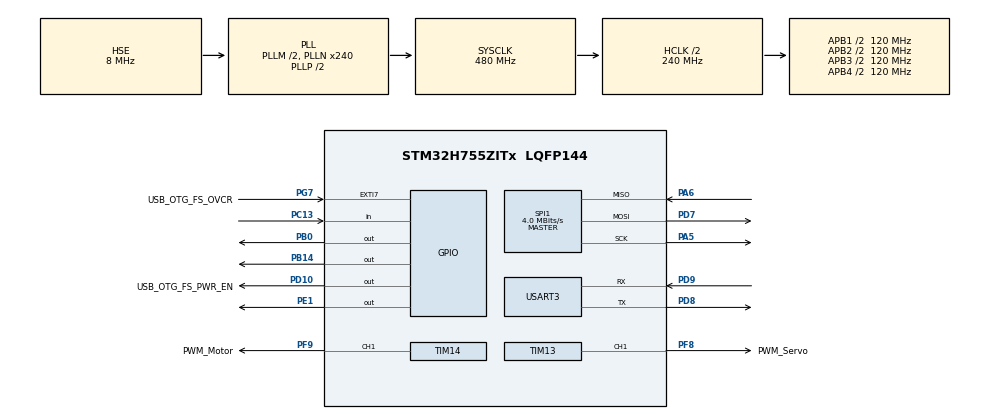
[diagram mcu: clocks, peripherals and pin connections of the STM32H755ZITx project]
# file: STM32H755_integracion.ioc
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CortexM4.IPs=FATFS_M4\:I,FREERTOS_M4\:I,IWDG2\:I,RCC,WWDG2\:I,DMA,BDMA,MDMA,NVIC2\:I,ETH,USART3,DEBUG,PDM2PCM_M4\:I,PWR,RESMGR_UTILITY,SYS_M4\:I,USB_DEVICE_M4\:I,USB_HOST_M4\:I,CORTEX_M4\:I,GPIO,OPENAMP_M4\:I,VREFBUF,NUCLEO-H755ZI-Q
CortexM7.IPs=FATFS_M7\:I,FREERTOS_M7\:I,IWDG1\:I,RCC\:I,WWDG1\:I,DMA\:I,BDMA\:I,MDMA\:I,NVIC1\:I,ETH\:I,USART3\:I,USB_OTG_FS\:I,SYS\:I,CORTEX_M7\:I,DEBUG\:I,PDM2PCM_M7\:I,PWR\:I,RESMGR_UTILITY\:I,USB_DEVICE_M7\:I,USB_HOST_M7\:I,GPIO\:I,OPENAMP_M7\:I,VREFBUF\:I,NUCLEO-H755ZI-Q\:I,TIM13\:I,TIM14\:I,SPI1\:I
Mcu.Family=STM32H7
Mcu.Name=STM32H755ZITx
Mcu.Package=LQFP144
NVIC1.PriorityGroup=NVIC_PRIORITYGROUP_4
NVIC2.PriorityGroup=NVIC_PRIORITYGROUP_4
PA1.PinAttribute=CortexM7
PA1.Signal=ETH_REF_CLK
PA11.PinAttribute=CortexM7
PA11.Signal=USB_OTG_FS_DM
PA12.PinAttribute=CortexM7
PA12.Signal=USB_OTG_FS_DP
PA2.PinAttribute=CortexM7
PA2.Signal=ETH_MDIO
PA5.Mode=Full_Duplex_Master
PA5.PinAttribute=CortexM7
PA5.Signal=SPI1_SCK
PA6.Mode=Full_Duplex_Master
PA6.PinAttribute=CortexM7
PA6.Signal=SPI1_MISO
PA7.PinAttribute=CortexM7
PA7.Signal=ETH_CRS_DV
PA8.PinAttribute=CortexM7
PA8.Signal=USB_OTG_FS_SOF
PA9.PinAttribute=CortexM7
PA9.Signal=USB_OTG_FS_VBUS
PB0.PinAttribute=Free
PB0.Signal=GPIO_Output
PB13.PinAttribute=CortexM7
PB13.Signal=ETH_TXD1
PB14.PinAttribute=Free
PB14.Signal=GPIO_Output
PC1.PinAttribute=CortexM7
PC1.Signal=ETH_MDC
PC13.PinAttribute=Free
PC13.Signal=GPIO_Input
PC14-OSC32_IN\ (OSC32_IN).Mode=LSE-External-Oscillator
PC14-OSC32_IN\ (OSC32_IN).PinAttribute=Free
PC14-OSC32_IN\ (OSC32_IN).Signal=RCC_OSC32_IN
PC15-OSC32_OUT\ (OSC32_OUT).Mode=LSE-External-Oscillator
PC15-OSC32_OUT\ (OSC32_OUT).PinAttribute=Free
PC15-OSC32_OUT\ (OSC32_OUT).Signal=RCC_OSC32_OUT
PC4.PinAttribute=CortexM7
PC4.Signal=ETH_RXD0
PC5.PinAttribute=CortexM7
PC5.Signal=ETH_RXD1
PD10.GPIO_Label=USB_OTG_FS_PWR_EN
PD10.PinAttribute=Free
PD10.Signal=GPIO_Output
PD7.Mode=Full_Duplex_Master
PD7.PinAttribute=CortexM7
PD7.Signal=SPI1_MOSI
PD8.Mode=Asynchronous
PD8.PinAttribute=CortexM7
PD8.Signal=USART3_TX
PD9.Mode=Asynchronous
PD9.PinAttribute=CortexM7
PD9.Signal=USART3_RX
PE1.PinAttribute=Free
PE1.Signal=GPIO_Output
PF8.GPIO_Label=PWM_Servo
PF8.PinAttribute=CortexM7
PF8.Signal=S_TIM13_CH1
PF9.GPIO_Label=PWM_Motor
PF9.PinAttribute=CortexM7
PF9.Signal=S_TIM14_CH1
PG11.PinAttribute=CortexM7
PG11.Signal=ETH_TX_EN
PG13.PinAttribute=CortexM7
PG13.Signal=ETH_TXD0
PG7.GPIO_Label=USB_OTG_FS_OVCR
PG7.PinAttribute=Free
PG7.Signal=GPXTI7
PH0-OSC_IN\ (PH0).Mode=HSE-External-Clock-Source
PH0-OSC_IN\ (PH0).PinAttribute=Free
PH0-OSC_IN\ (PH0).Signal=RCC_OSC_IN
PH1-OSC_OUT\ (PH1).PinAttribute=Free
PH1-OSC_OUT\ (PH1).Signal=RCC_OSC_OUT
ProjectManager.HeapSize=M4-0x200,M7-0x200
ProjectManager.StackSize=M4-0x400,M7-0x400
ProjectManager.TargetToolchain=STM32CubeIDE
RCC.ADCFreq_Value=16125000
RCC.APB1Freq_Value=120000000
RCC.APB2Freq_Value=120000000
RCC.APB3Freq_Value=120000000
RCC.APB4Freq_Value=120000000
RCC.CortexFreq_Value=480000000
RCC.D1PPRE=RCC_APB3_DIV2
RCC.D2PPRE1=RCC_APB1_DIV2
RCC.D2PPRE2=RCC_APB2_DIV2
RCC.D3PPRE=RCC_APB4_DIV2
RCC.DIVM1=2
RCC.DIVN1=240
RCC.DIVQ1=5
RCC.HCLKFreq_Value=240000000
RCC.HPRE=RCC_HCLK_DIV2
RCC.HSE_VALUE=8000000
RCC.PLL2FRACN=0
RCC.PLL3FRACN=0
RCC.PLLFRACN=0
RCC.PLLSourceVirtual=RCC_PLLSOURCE_HSE
RCC.SPI123CLockSelection=RCC_SPI123CLKSOURCE_CLKP
RCC.SYSCLKFreq_VALUE=480000000
RCC.SYSCLKSource=RCC_SYSCLKSOURCE_PLLCLK
RCC.SupplySource=PWR_DIRECT_SMPS_SUPPLY
RCC.USBFreq_Value=192000000
SH.S_TIM13_CH1.0=TIM13_CH1,PWM Generation1 CH1
SH.S_TIM14_CH1.0=TIM14_CH1,PWM Generation1 CH1
SPI1.BaudRatePrescaler=SPI_BAUDRATEPRESCALER_16
SPI1.CalculateBaudRate=4.0 MBits/s
SPI1.DataSize=SPI_DATASIZE_8BIT
SPI1.Direction=SPI_DIRECTION_2LINES
SPI1.Mode=SPI_MODE_MASTER
SPI1.VirtualType=VM_MASTER
TIM13.Channel=TIM_CHANNEL_1
TIM13.Period=19999
TIM13.Prescaler=239
TIM14.Channel=TIM_CHANNEL_1
TIM14.Period=19999
TIM14.Prescaler=239
USART3.VirtualMode-Asynchronous=VM_ASYNC
VP_SYS_M4_VS_Systick.Mode=SysTick
VP_TIM13_VS_ClockSourceINT.Mode=Enable_Timer
VP_TIM14_VS_ClockSourceINT.Mode=Enable_Timer
board=NUCLEO-H755ZI-Q

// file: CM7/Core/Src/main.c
/* USER CODE BEGIN Header */
/**
  ******************************************************************************
  * @file           : main.c
  * @brief          : Main program body
  ******************************************************************************
  * @attention
  *
  * Copyright (c) 2024 STMicroelectronics.
  * All rights reserved.
  *
  * This software is licensed under terms that can be found in the LICENSE file
  * in the root directory of this software component.
  * If no LICENSE file comes with this software, it is provided AS-IS.
  *
  ******************************************************************************
  */
/* USER CODE END Header */
#include "main.h"
#include "MY_NRF24.h"
#include "robot_control.h"

/* USER CODE BEGIN PD */

#ifndef HSEM_ID_0
#define HSEM_ID_0 (0U) /* HW semaphore 0*/
#endif

/* USER CODE END PD */

/* USER CODE BEGIN PM */
#define PATH_LENGTH 5
Waypoint waypoints[PATH_LENGTH] = {
    {1.0f, 0.0f}, {2.0f, 0.5f}, {3.0f, 1.0f}, {4.0f, 1.5f}, {5.0f, 2.0f}
};
/* USER CODE END PM */

SPI_HandleTypeDef hspi1;

TIM_HandleTypeDef htim13;
TIM_HandleTypeDef htim14;

UART_HandleTypeDef huart3;

/* USER CODE BEGIN PV */
typedef enum {
   mov_front,
   mov_back,
   mov_left,
   mov_right
} MovementType;

typedef struct {
  MovementType movement;
  int time;
  int angle;
  int speed;
} MovementRoutine;
/* USER CODE END PV */

void SystemClock_Config(void);
void PeriphCommonClock_Config(void);
static void MX_GPIO_Init(void);
static void MX_TIM13_Init(void);
static void MX_USART3_UART_Init(void);
static void MX_TIM14_Init(void);
static void MX_SPI1_Init(void);
/* USER CODE BEGIN PFP */
void TurningSetAngle(float angle); //Angulo
void SetMotorSpeed(float speed);
/* USER CODE END PFP */

/* USER CODE BEGIN 0 */
void TurningSetAngle(float angle) {
    // Ajustar el ángulo al rango permitido
    if (angle < -90.0f) angle = -90.0f;
    if (angle > 90.0f)  angle = 90.0f;

    int pulse;
    if (angle <= 0.0f) {
        // Mapear ángulos de -90 a 0 grados
        pulse = (int)((80.0f / 90.0f) * (angle + 90.0f) + 130.0f);
    } else {
        // Mapear ángulos de 0 a 90 grados
        pulse = (int)((50.0f / 90.0f) * angle + 210.0f);
    }
    __HAL_TIM_SET_COMPARE(&htim13, TIM_CHANNEL_1, pulse);
}

void SetMotorSpeed(float speed)
{
	//Limitar el valor de speed
	if (speed < 0.0f) speed = 0.0f;
	if (speed > 1.0f) speed = 1.0f;

    // Ajusta el valor de CCR1 en función de la velocidad deseada
    TIM14->CCR1 = (uint32_t)((63999 * 0.05f) + (63999 * 0.05f * speed));
}
/* USER CODE END 0 */

int main(void)
{

/* USER CODE BEGIN Boot_Mode_Sequence_0 */
  int32_t timeout;
/* USER CODE END Boot_Mode_Sequence_0 */

/* USER CODE BEGIN Boot_Mode_Sequence_1 */
  /* Wait until CPU2 boots and enters in stop mode or timeout*/
  timeout = 0xFFFF;
  while((__HAL_RCC_GET_FLAG(RCC_FLAG_D2CKRDY) != RESET) && (timeout-- > 0));
  if ( timeout < 0 )
  {
  Error_Handler();
  }
/* USER CODE END Boot_Mode_Sequence_1 */
  /* MCU Configuration--------------------------------------------------------*/

  /* Reset of all peripherals, Initializes the Flash interface and the Systick. */
  HAL_Init();

  /* Configure the system clock */
  SystemClock_Config();

  /* Configure the peripherals common clocks */
  PeriphCommonClock_Config();
/* USER CODE BEGIN Boot_Mode_Sequence_2 */
/* When system initialization is finished, Cortex-M7 will release Cortex-M4 by means of
HSEM notification */
/*HW semaphore Clock enable*/
__HAL_RCC_HSEM_CLK_ENABLE();
/*Take HSEM */
HAL_HSEM_FastTake(HSEM_ID_0);
/*Release HSEM in order to notify the CPU2(CM4)*/
HAL_HSEM_Release(HSEM_ID_0,0);
/* wait until CPU2 wakes up from stop mode */
timeout = 0xFFFF;
while((__HAL_RCC_GET_FLAG(RCC_FLAG_D2CKRDY) == RESET) && (timeout-- > 0));
if ( timeout < 0 )
{
Error_Handler();
}
/* USER CODE END Boot_Mode_Sequence_2 */

  /* Initialize all configured peripherals */
  MX_GPIO_Init();
  MX_TIM13_Init();
  MX_USART3_UART_Init();
  MX_TIM14_Init();
  MX_SPI1_Init();

  /* Infinite loop */
  while (1)
  {

  }
}

void SystemClock_Config(void)
{
  RCC_OscInitTypeDef RCC_OscInitStruct = {0};
  RCC_ClkInitTypeDef RCC_ClkInitStruct = {0};

  /** Supply configuration update enable
  */
  HAL_PWREx_ConfigSupply(PWR_DIRECT_SMPS_SUPPLY);

  /** Configure the main internal regulator output voltage
  */
  __HAL_PWR_VOLTAGESCALING_CONFIG(PWR_REGULATOR_VOLTAGE_SCALE0);

  while(!__HAL_PWR_GET_FLAG(PWR_FLAG_VOSRDY)) {}

  /** Initializes the RCC Oscillators according to the specified parameters
  * in the RCC_OscInitTypeDef structure.
  */
  RCC_OscInitStruct.OscillatorType = RCC_OSCILLATORTYPE_HSI|RCC_OSCILLATORTYPE_HSE;
  RCC_OscInitStruct.HSEState = RCC_HSE_BYPASS;
  RCC_OscInitStruct.HSIState = RCC_HSI_DIV1;
  RCC_OscInitStruct.HSICalibrationValue = RCC_HSICALIBRATION_DEFAULT;
  RCC_OscInitStruct.PLL.PLLState = RCC_PLL_ON;
  RCC_OscInitStruct.PLL.PLLSource = RCC_PLLSOURCE_HSE;
  RCC_OscInitStruct.PLL.PLLM = 2;
  RCC_OscInitStruct.PLL.PLLN = 240;
  RCC_OscInitStruct.PLL.PLLP = 2;
  RCC_OscInitStruct.PLL.PLLQ = 5;
  RCC_OscInitStruct.PLL.PLLR = 2;
  RCC_OscInitStruct.PLL.PLLRGE = RCC_PLL1VCIRANGE_2;
  RCC_OscInitStruct.PLL.PLLVCOSEL = RCC_PLL1VCOWIDE;
  RCC_OscInitStruct.PLL.PLLFRACN = 0;
  if (HAL_RCC_OscConfig(&RCC_OscInitStruct) != HAL_OK)
  {
    Error_Handler();
  }

  /** Initializes the CPU, AHB and APB buses clocks
  */
  RCC_ClkInitStruct.ClockType = RCC_CLOCKTYPE_HCLK|RCC_CLOCKTYPE_SYSCLK
                              |RCC_CLOCKTYPE_PCLK1|RCC_CLOCKTYPE_PCLK2
                              |RCC_CLOCKTYPE_D3PCLK1|RCC_CLOCKTYPE_D1PCLK1;
  RCC_ClkInitStruct.SYSCLKSource = RCC_SYSCLKSOURCE_PLLCLK;
  RCC_ClkInitStruct.SYSCLKDivider = RCC_SYSCLK_DIV1;
  RCC_ClkInitStruct.AHBCLKDivider = RCC_HCLK_DIV2;
  RCC_ClkInitStruct.APB3CLKDivider = RCC_APB3_DIV2;
  RCC_ClkInitStruct.APB1CLKDivider = RCC_APB1_DIV2;
  RCC_ClkInitStruct.APB2CLKDivider = RCC_APB2_DIV2;
  RCC_ClkInitStruct.APB4CLKDivider = RCC_APB4_DIV2;

  if (HAL_RCC_ClockConfig(&RCC_ClkInitStruct, FLASH_LATENCY_4) != HAL_OK)
  {
    Error_Handler();
  }
}

void PeriphCommonClock_Config(void)
{
  RCC_PeriphCLKInitTypeDef PeriphClkInitStruct = {0};

  /** Initializes the peripherals clock
  */
  PeriphClkInitStruct.PeriphClockSelection = RCC_PERIPHCLK_CKPER;
  PeriphClkInitStruct.CkperClockSelection = RCC_CLKPSOURCE_HSI;
  if (HAL_RCCEx_PeriphCLKConfig(&PeriphClkInitStruct) != HAL_OK)
  {
    Error_Handler();
  }
}

static void MX_SPI1_Init(void)
{

  /* SPI1 parameter configuration*/
  hspi1.Instance = SPI1;
  hspi1.Init.Mode = SPI_MODE_MASTER;
  hspi1.Init.Direction = SPI_DIRECTION_2LINES;
  hspi1.Init.DataSize = SPI_DATASIZE_8BIT;
  hspi1.Init.CLKPolarity = SPI_POLARITY_LOW;
  hspi1.Init.CLKPhase = SPI_PHASE_1EDGE;
  hspi1.Init.NSS = SPI_NSS_SOFT;
  hspi1.Init.BaudRatePrescaler = SPI_BAUDRATEPRESCALER_16;
  hspi1.Init.FirstBit = SPI_FIRSTBIT_MSB;
  hspi1.Init.TIMode = SPI_TIMODE_DISABLE;
  hspi1.Init.CRCCalculation = SPI_CRCCALCULATION_DISABLE;
  hspi1.Init.CRCPolynomial = 0x0;
  hspi1.Init.NSSPMode = SPI_NSS_PULSE_ENABLE;
  hspi1.Init.NSSPolarity = SPI_NSS_POLARITY_LOW;
  hspi1.Init.FifoThreshold = SPI_FIFO_THRESHOLD_01DATA;
  hspi1.Init.TxCRCInitializationPattern = SPI_CRC_INITIALIZATION_ALL_ZERO_PATTERN;
  hspi1.Init.RxCRCInitializationPattern = SPI_CRC_INITIALIZATION_ALL_ZERO_PATTERN;
  hspi1.Init.MasterSSIdleness = SPI_MASTER_SS_IDLENESS_00CYCLE;
  hspi1.Init.MasterInterDataIdleness = SPI_MASTER_INTERDATA_IDLENESS_00CYCLE;
  hspi1.Init.MasterReceiverAutoSusp = SPI_MASTER_RX_AUTOSUSP_DISABLE;
  hspi1.Init.MasterKeepIOState = SPI_MASTER_KEEP_IO_STATE_DISABLE;
  hspi1.Init.IOSwap = SPI_IO_SWAP_DISABLE;
  if (HAL_SPI_Init(&hspi1) != HAL_OK)
  {
    Error_Handler();
  }

}

static void MX_TIM13_Init(void)
{

  TIM_OC_InitTypeDef sConfigOC = {0};

  htim13.Instance = TIM13;
  htim13.Init.Prescaler = 239;
  htim13.Init.CounterMode = TIM_COUNTERMODE_UP;
  htim13.Init.Period = 19999;
  htim13.Init.ClockDivision = TIM_CLOCKDIVISION_DIV1;
  htim13.Init.AutoReloadPreload = TIM_AUTORELOAD_PRELOAD_DISABLE;
  if (HAL_TIM_Base_Init(&htim13) != HAL_OK)
  {
    Error_Handler();
  }
  if (HAL_TIM_PWM_Init(&htim13) != HAL_OK)
  {
    Error_Handler();
  }
  sConfigOC.OCMode = TIM_OCMODE_PWM1;
  sConfigOC.Pulse = 0;
  sConfigOC.OCPolarity = TIM_OCPOLARITY_HIGH;
  sConfigOC.OCFastMode = TIM_OCFAST_DISABLE;
  if (HAL_TIM_PWM_ConfigChannel(&htim13, &sConfigOC, TIM_CHANNEL_1) != HAL_OK)
  {
    Error_Handler();
  }
  HAL_TIM_MspPostInit(&htim13);

}

static void MX_TIM14_Init(void)
{

  TIM_OC_InitTypeDef sConfigOC = {0};

  htim14.Instance = TIM14;
  htim14.Init.Prescaler = 239;
  htim14.Init.CounterMode = TIM_COUNTERMODE_UP;
  htim14.Init.Period = 19999;
  htim14.Init.ClockDivision = TIM_CLOCKDIVISION_DIV1;
  htim14.Init.AutoReloadPreload = TIM_AUTORELOAD_PRELOAD_DISABLE;
  if (HAL_TIM_Base_Init(&htim14) != HAL_OK)
  {
    Error_Handler();
  }
  if (HAL_TIM_PWM_Init(&htim14) != HAL_OK)
  {
    Error_Handler();
  }
  sConfigOC.OCMode = TIM_OCMODE_PWM1;
  sConfigOC.Pulse = 0;
  sConfigOC.OCPolarity = TIM_OCPOLARITY_HIGH;
  sConfigOC.OCFastMode = TIM_OCFAST_DISABLE;
  if (HAL_TIM_PWM_ConfigChannel(&htim14, &sConfigOC, TIM_CHANNEL_1) != HAL_OK)
  {
    Error_Handler();
  }
  HAL_TIM_MspPostInit(&htim14);

}

static void MX_USART3_UART_Init(void)
{

  huart3.Instance = USART3;
  huart3.Init.BaudRate = 115200;
  huart3.Init.WordLength = UART_WORDLENGTH_8B;
  huart3.Init.StopBits = UART_STOPBITS_1;
  huart3.Init.Parity = UART_PARITY_NONE;
  huart3.Init.Mode = UART_MODE_TX_RX;
  huart3.Init.HwFlowCtl = UART_HWCONTROL_NONE;
  huart3.Init.OverSampling = UART_OVERSAMPLING_16;
  huart3.Init.OneBitSampling = UART_ONE_BIT_SAMPLE_DISABLE;
  huart3.Init.ClockPrescaler = UART_PRESCALER_DIV1;
  huart3.AdvancedInit.AdvFeatureInit = UART_ADVFEATURE_NO_INIT;
  if (HAL_UART_Init(&huart3) != HAL_OK)
  {
    Error_Handler();
  }
  if (HAL_UARTEx_SetTxFifoThreshold(&huart3, UART_TXFIFO_THRESHOLD_1_8) != HAL_OK)
  {
    Error_Handler();
  }
  if (HAL_UARTEx_SetRxFifoThreshold(&huart3, UART_RXFIFO_THRESHOLD_1_8) != HAL_OK)
  {
    Error_Handler();
  }
  if (HAL_UARTEx_DisableFifoMode(&huart3) != HAL_OK)
  {
    Error_Handler();
  }

}

static void MX_GPIO_Init(void)
{
  GPIO_InitTypeDef GPIO_InitStruct = {0};

  /* GPIO Ports Clock Enable */
  __HAL_RCC_GPIOF_CLK_ENABLE();
  __HAL_RCC_GPIOC_CLK_ENABLE();
  __HAL_RCC_GPIOA_CLK_ENABLE();
  __HAL_RCC_GPIOB_CLK_ENABLE();
  __HAL_RCC_GPIOD_CLK_ENABLE();
  __HAL_RCC_GPIOG_CLK_ENABLE();

  /*Configure GPIO pins : PC1 PC4 PC5 */
  GPIO_InitStruct.Pin = GPIO_PIN_1|GPIO_PIN_4|GPIO_PIN_5;
  GPIO_InitStruct.Mode = GPIO_MODE_AF_PP;
  GPIO_InitStruct.Pull = GPIO_NOPULL;
  GPIO_InitStruct.Speed = GPIO_SPEED_FREQ_LOW;
  GPIO_InitStruct.Alternate = GPIO_AF11_ETH;
  HAL_GPIO_Init(GPIOC, &GPIO_InitStruct);

  /*Configure GPIO pins : PA1 PA2 PA7 */
  GPIO_InitStruct.Pin = GPIO_PIN_1|GPIO_PIN_2|GPIO_PIN_7;
  GPIO_InitStruct.Mode = GPIO_MODE_AF_PP;
  GPIO_InitStruct.Pull = GPIO_NOPULL;
  GPIO_InitStruct.Speed = GPIO_SPEED_FREQ_LOW;
  GPIO_InitStruct.Alternate = GPIO_AF11_ETH;
  HAL_GPIO_Init(GPIOA, &GPIO_InitStruct);

  /*Configure GPIO pin : PB13 */
  GPIO_InitStruct.Pin = GPIO_PIN_13;
  GPIO_InitStruct.Mode = GPIO_MODE_AF_PP;
  GPIO_InitStruct.Pull = GPIO_NOPULL;
  GPIO_InitStruct.Speed = GPIO_SPEED_FREQ_LOW;
  GPIO_InitStruct.Alternate = GPIO_AF11_ETH;
  HAL_GPIO_Init(GPIOB, &GPIO_InitStruct);

  /*Configure GPIO pins : PA8 PA11 PA12 */
  GPIO_InitStruct.Pin = GPIO_PIN_8|GPIO_PIN_11|GPIO_PIN_12;
  GPIO_InitStruct.Mode = GPIO_MODE_AF_PP;
  GPIO_InitStruct.Pull = GPIO_NOPULL;
  GPIO_InitStruct.Speed = GPIO_SPEED_FREQ_LOW;
  GPIO_InitStruct.Alternate = GPIO_AF10_OTG1_FS;
  HAL_GPIO_Init(GPIOA, &GPIO_InitStruct);

  /*Configure GPIO pins : PG11 PG13 */
  GPIO_InitStruct.Pin = GPIO_PIN_11|GPIO_PIN_13;
  GPIO_InitStruct.Mode = GPIO_MODE_AF_PP;
  GPIO_InitStruct.Pull = GPIO_NOPULL;
  GPIO_InitStruct.Speed = GPIO_SPEED_FREQ_LOW;
  GPIO_InitStruct.Alternate = GPIO_AF11_ETH;
  HAL_GPIO_Init(GPIOG, &GPIO_InitStruct);

}

void Error_Handler(void)
{
  __disable_irq();
  while (1)
  {
  }
}
